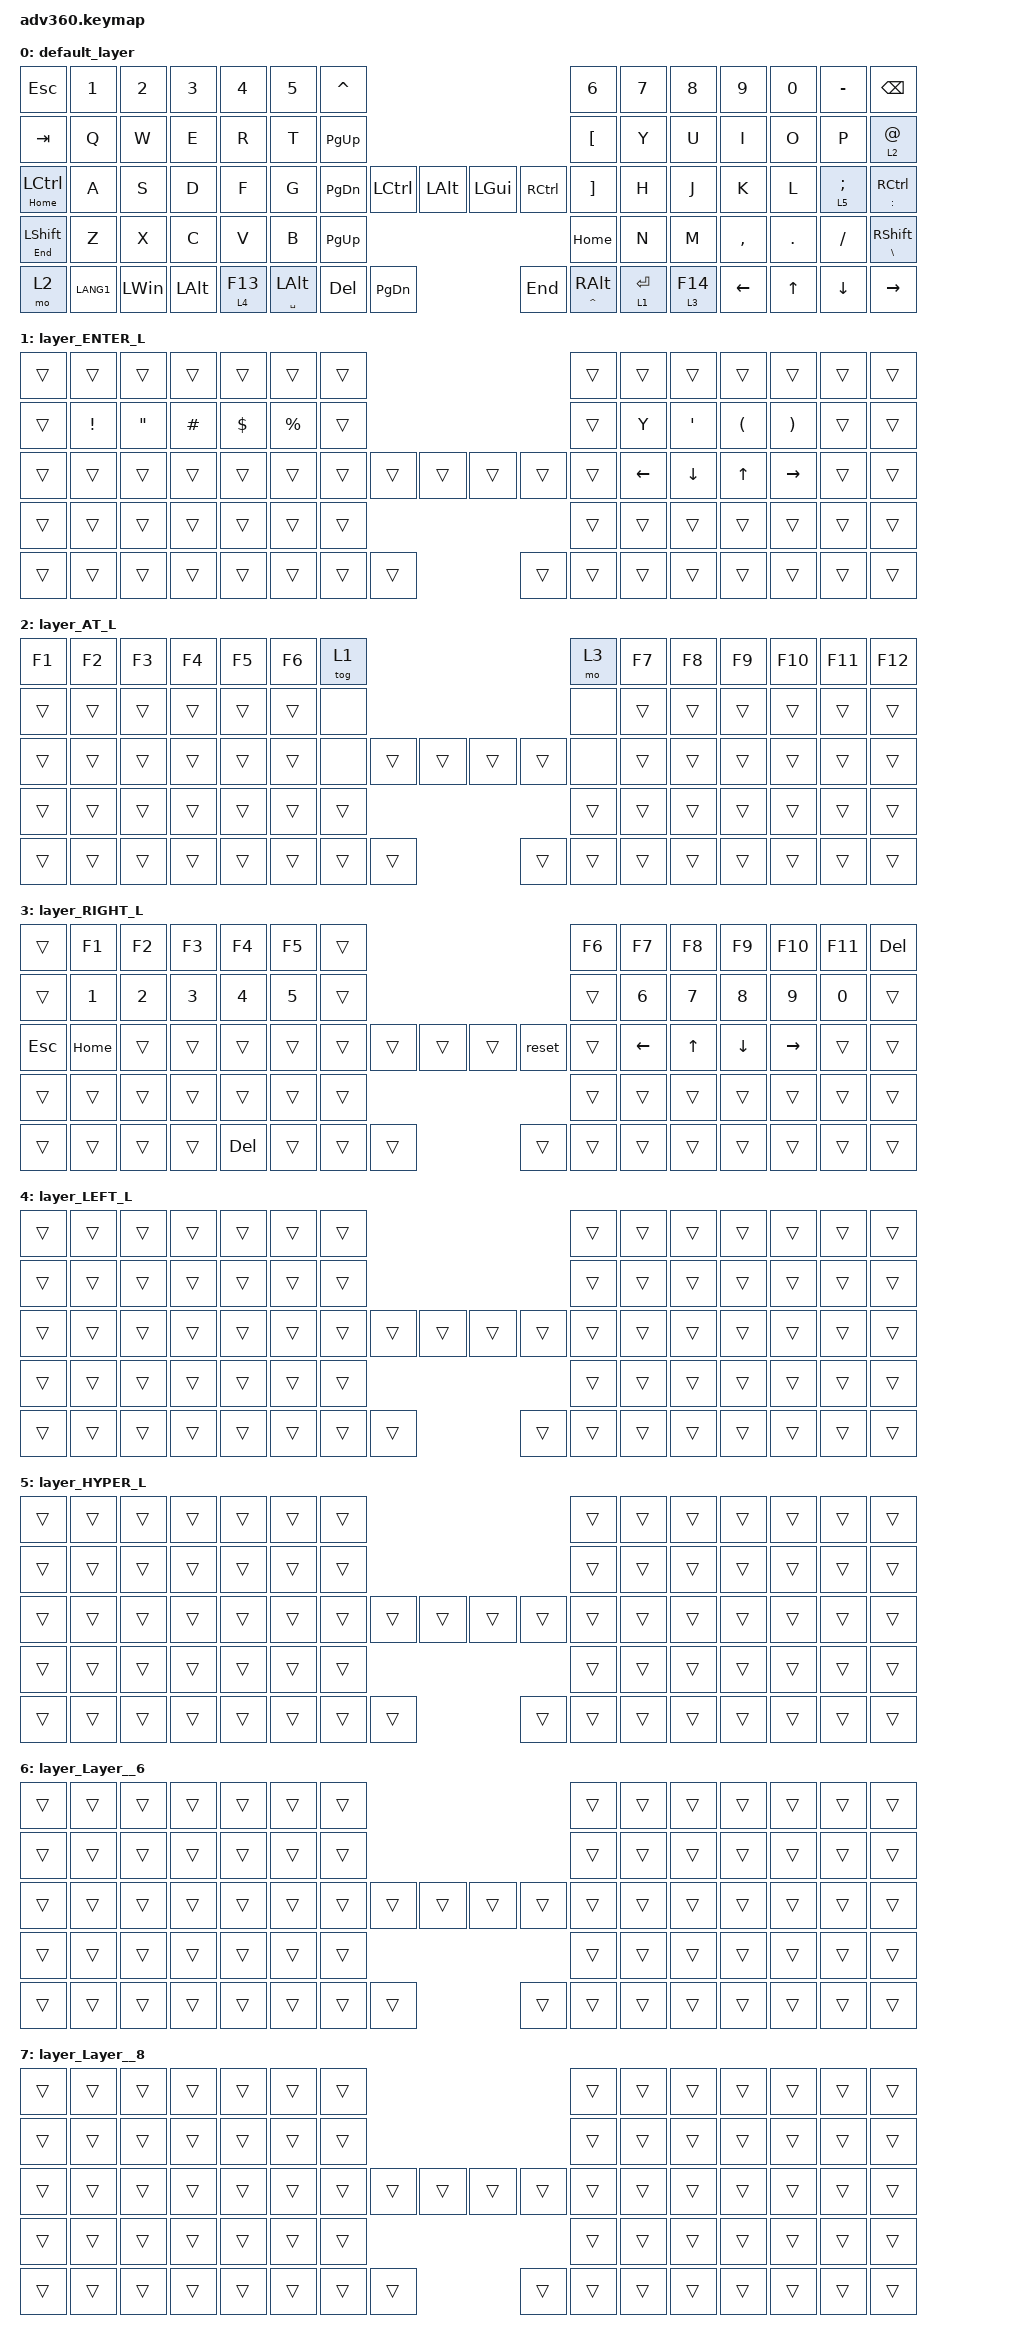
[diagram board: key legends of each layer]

/*
 * Copyright (c) 2020 The ZMK Contributors
 *
 * SPDX-License-Identifier: MIT
 */


/* THIS FILE WAS GENERATED!
 *
 * This file was generated automatically. You may or may not want to
 * edit it directly.
 */

#include <behaviors.dtsi>
#include <dt-bindings/zmk/keys.h>

/ {
  behaviors {
    #include "macros.dtsi"
    #include "version.dtsi"

    hm: homerow_mods {
        compatible = "zmk,behavior-hold-tap";
        label = "HOMEROW_MODS";
        #binding-cells = <2>;
        tapping-term-ms = <200>;
        quick_tap_ms = <175>;
        flavor = "tap-preferred";
        bindings = <&kp>, <&kp>;
    };
  };

    keymap {
        compatible = "zmk,keymap";


        default_layer {
            bindings = <
        &kp ESC     &kp N1        &kp N2        &kp N3     &kp N4  &kp N5                     &kp CARET                                                                                  &kp N6  &kp N7     &kp N8     &kp N9   &kp N0   &kp MINUS         &kp BACKSPACE
        &kp TAB      &kp Q         &kp W         &kp E      &kp R   &kp T                     &kp PG_UP                                                                        &kp LEFT_BRACKET   &kp Y      &kp U      &kp I    &kp O       &kp P              &lt 2 AT
 &mt HOME LCTRL      &kp A         &kp S         &kp D      &kp F   &kp G                     &kp PG_DN  &kp LCTRL   &kp LALT                  &kp LGUI            &kp RCTRL  &kp RIGHT_BRACKET   &kp H      &kp J      &kp K    &kp L  &lt 5 SEMI       &mt COLON RCTRL
 &mt END LSHIFT      &kp Z         &kp X         &kp C      &kp V   &kp B                                           &kp PG_UP                  &kp HOME                                           &kp N      &kp M  &kp COMMA  &kp DOT    &kp FSLH  &mt BACKSLASH RSHIFT
          &mo 2  &kp LANG1  &kp LEFT_WIN  &kp LEFT_ALT  &lt 4 F13                    &mt SPACE LEFT_ALT    &kp DEL  &kp PG_DN                   &kp END  &mt CARET RIGHT_ALT        &lt 1 ENTER          &lt 3 F14   &kp LEFT   &kp UP    &kp DOWN             &kp RIGHT
            >;
        };

        layer_ENTER_L {
            bindings = <
 &trans           &trans             &trans    &trans      &trans       &trans            &trans                                                  &trans    &trans            &trans                &trans                 &trans  &trans  &trans
 &trans  &kp EXCLAMATION  &kp DOUBLE_QUOTES  &kp HASH  &kp DOLLAR  &kp PERCENT            &trans                                                  &trans     &kp Y  &kp SINGLE_QUOTE  &kp LEFT_PARENTHESIS  &kp RIGHT_PARENTHESIS  &trans  &trans
 &trans           &trans             &trans    &trans      &trans       &trans            &trans  &trans  &trans                  &trans  &trans  &trans  &kp LEFT          &kp DOWN                &kp UP              &kp RIGHT  &trans  &trans
 &trans           &trans             &trans    &trans      &trans       &trans                            &trans                  &trans                    &trans            &trans                &trans                 &trans  &trans  &trans
 &trans           &trans             &trans    &trans      &trans                         &trans  &trans  &trans                  &trans  &trans  &trans                      &trans                &trans                 &trans  &trans  &trans
            >;
        };

        layer_AT_L {
            bindings = <
 &kp F1  &kp F2  &kp F3  &kp F4  &kp F5  &kp F6            &tog 1                                                   &mo 3  &kp F7  &kp F8  &kp F9  &kp F10  &kp F11  &kp F12
 &trans  &trans  &trans  &trans  &trans  &trans             &none                                                   &none  &trans  &trans  &trans   &trans   &trans   &trans
 &trans  &trans  &trans  &trans  &trans  &trans             &none  &trans  &trans                  &trans  &trans   &none  &trans  &trans  &trans   &trans   &trans   &trans
 &trans  &trans  &trans  &trans  &trans  &trans                            &trans                  &trans                  &trans  &trans  &trans   &trans   &trans   &trans
 &trans  &trans  &trans  &trans  &trans                    &trans  &trans  &trans                  &trans  &trans  &trans          &trans  &trans   &trans   &trans   &trans
            >;
        };

        layer_RIGHT_L {
            bindings = <
  &trans    &kp F1  &kp F2  &kp F3   &kp F4  &kp F5            &trans                                                  &kp F6    &kp F7  &kp F8    &kp F9    &kp F10  &kp F11  &kp DEL
  &trans    &kp N1  &kp N2  &kp N3   &kp N4  &kp N5            &trans                                                  &trans    &kp N6  &kp N7    &kp N8     &kp N9   &kp N0   &trans
 &kp ESC  &kp HOME  &trans  &trans   &trans  &trans            &trans  &trans  &trans                  &trans  &reset  &trans  &kp LEFT  &kp UP  &kp DOWN  &kp RIGHT   &trans   &trans
  &trans    &trans  &trans  &trans   &trans  &trans                            &trans                  &trans                    &trans  &trans    &trans     &trans   &trans   &trans
  &trans    &trans  &trans  &trans  &kp DEL                    &trans  &trans  &trans                  &trans  &trans  &trans            &trans    &trans     &trans   &trans   &trans
            >;
        };

        layer_LEFT_L {
            bindings = <
 &trans  &trans  &trans  &trans  &trans  &trans            &trans                                                  &trans  &trans  &trans  &trans  &trans  &trans  &trans
 &trans  &trans  &trans  &trans  &trans  &trans            &trans                                                  &trans  &trans  &trans  &trans  &trans  &trans  &trans
 &trans  &trans  &trans  &trans  &trans  &trans            &trans  &trans  &trans                  &trans  &trans  &trans  &trans  &trans  &trans  &trans  &trans  &trans
 &trans  &trans  &trans  &trans  &trans  &trans                            &trans                  &trans                  &trans  &trans  &trans  &trans  &trans  &trans
 &trans  &trans  &trans  &trans  &trans                    &trans  &trans  &trans                  &trans  &trans  &trans          &trans  &trans  &trans  &trans  &trans
            >;
        };

        layer_HYPER_L {
            bindings = <
 &trans  &trans  &trans  &trans  &trans  &trans            &trans                                                  &trans  &trans  &trans  &trans  &trans  &trans  &trans
 &trans  &trans  &trans  &trans  &trans  &trans            &trans                                                  &trans  &trans  &trans  &trans  &trans  &trans  &trans
 &trans  &trans  &trans  &trans  &trans  &trans            &trans  &trans  &trans                  &trans  &trans  &trans  &trans  &trans  &trans  &trans  &trans  &trans
 &trans  &trans  &trans  &trans  &trans  &trans                            &trans                  &trans                  &trans  &trans  &trans  &trans  &trans  &trans
 &trans  &trans  &trans  &trans  &trans                    &trans  &trans  &trans                  &trans  &trans  &trans          &trans  &trans  &trans  &trans  &trans
            >;
        };

        layer_Layer__6 {
            bindings = <
 &trans  &trans  &trans  &trans  &trans  &trans            &trans                                                  &trans  &trans  &trans  &trans  &trans  &trans  &trans
 &trans  &trans  &trans  &trans  &trans  &trans            &trans                                                  &trans  &trans  &trans  &trans  &trans  &trans  &trans
 &trans  &trans  &trans  &trans  &trans  &trans            &trans  &trans  &trans                  &trans  &trans  &trans  &trans  &trans  &trans  &trans  &trans  &trans
 &trans  &trans  &trans  &trans  &trans  &trans                            &trans                  &trans                  &trans  &trans  &trans  &trans  &trans  &trans
 &trans  &trans  &trans  &trans  &trans                    &trans  &trans  &trans                  &trans  &trans  &trans          &trans  &trans  &trans  &trans  &trans
            >;
        };

        layer_Layer__8 {
            bindings = <
 &trans  &trans  &trans  &trans  &trans  &trans            &trans                                                  &trans  &trans  &trans  &trans  &trans  &trans  &trans
 &trans  &trans  &trans  &trans  &trans  &trans            &trans                                                  &trans  &trans  &trans  &trans  &trans  &trans  &trans
 &trans  &trans  &trans  &trans  &trans  &trans            &trans  &trans  &trans                  &trans  &trans  &trans  &trans  &trans  &trans  &trans  &trans  &trans
 &trans  &trans  &trans  &trans  &trans  &trans                            &trans                  &trans                  &trans  &trans  &trans  &trans  &trans  &trans
 &trans  &trans  &trans  &trans  &trans                    &trans  &trans  &trans                  &trans  &trans  &trans          &trans  &trans  &trans  &trans  &trans
            >;
        };

    };
};
